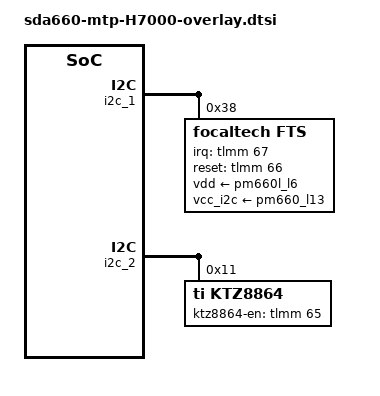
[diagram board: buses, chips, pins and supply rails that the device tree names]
/*
 * BBK S5 (H7000) board overlay - msm-4.19 (sdm660)
 *
 * Derived from the vendor 4.4 tree:
 *   arch/arm/boot/dts/qcom/eebbk/sda660-mtp-H7000-overlay.dtsi
 *
 * v1 bring-up scope: display (nt35597 + PWM backlight + ktz8864 init),
 * focaltech touch, PM660 charger/fuel-gauge, micro-USB (no SS PHY),
 * ramoops.  Camera / TFA98xx amp nodes are added in later revisions.
 */

#include "audio/sda660-audio-tfa98xxx.dtsi"
#include "battery/sda660-battery-H7000.dtsi"
#include "display/sda660-display-H7000.dtsi"

&firmware {
	android {
		boot_devices = "soc/c0c4000.sdhci";
		/delete-node/ fstab;
	};
};

/* ---- touch: FocalTech on BLSP1 QUP1 (i2c_1) ---- */
&i2c_1 {
	status = "ok";

	focaltech@38 {
		compatible = "focaltech,fts";
		reg = <0x38>;
		interrupt-parent = <&tlmm>;
		interrupts = <67 0x2800>;
		focaltech,irq-gpio = <&tlmm 67 0x2>;
		focaltech,reset-gpio = <&tlmm 66 0x0>;
		focaltech,display-coords = <0x0 0x0 0x640 0x880>;
		focaltech,max-touch-number = <10>;
		status = "okay";
		pinctrl-names = "pmx_ts_active", "pmx_ts_suspend", "pmx_ts_release";
		pinctrl-0 = <&ts_active>;
		pinctrl-1 = <&ts_int_suspend &ts_reset_suspend>;
		pinctrl-2 = <&ts_release>;
		vdd-supply = <&pm660l_l6>;
		vcc_i2c-supply = <&pm660_l13>;
	};
};

/* ---- backlight IC on BLSP1 QUP2 (i2c_2) ---- */
&i2c_2 {
	status = "ok";

	ktz8864@11 {
		compatible = "ti,ktz8864";
		reg = <0x11>;
		ktz8864-en-gpio = <&tlmm 65 0x0>;
	};
};

/* H7000 drives the backlight with PM660L PWM + KTZ8864, not WLED */
&pm660l_wled {
	status = "disabled";
};

&pm660_haptics {
	status = "disabled";
};

/* no super-speed PHY on this board (micro-USB, HS only) */
&ssphy {
	status = "disabled";
};

&usb3 {
	extcon = <&pm660_charger>;
	vbus_dwc3-supply = <&smb2_vbus>;
	qcom,no-wakeup-src-in-hostmode;

	dwc3@a800000 {
		usb-phy = <&qusb_phy0>, <&usb_nop_phy>;
		maximum-speed = "high-speed";
	};
};

&pm660_charger {
	qcom,micro-usb;
};

/* ---- TLMM: touch interrupt / reset lines ---- */
&tlmm {
	ts_int_defalut: ts_int_defalut {
		mux {
			pins = "gpio67";
			function = "gpio";
		};

		config {
			pins = "gpio67";
			bias-disable;
			drive-strength = <16>;
			input-enable;
		};
	};

	ts_int_input: ts_int_input {
		mux {
			pins = "gpio67";
			function = "gpio";
		};

		config {
			pins = "gpio67";
			bias-disable;
			input-enable;
		};
	};

	ts_int_output_high: ts_int_output_high {
		mux {
			pins = "gpio67";
			function = "gpio";
		};

		config {
			pins = "gpio67";
			output-high;
		};
	};

	ts_int_output_low: ts_int_output_low {
		mux {
			pins = "gpio67";
			function = "gpio";
		};

		config {
			pins = "gpio67";
			output-low;
		};
	};

	ts_mux {
		ts_active: ts_active {
			mux {
				pins = "gpio66", "gpio67";
				function = "gpio";
			};

			config {
				pins = "gpio66", "gpio67";
				bias-pull-up;
				drive-strength = <16>;
			};
		};

		ts_int_suspend: ts_int_suspend {
			mux {
				pins = "gpio67";
				function = "gpio";
			};

			config {
				pins = "gpio67";
				bias-disable;
				drive-strength = <2>;
			};
		};

		ts_reset_suspend: ts_reset_suspend {
			mux {
				pins = "gpio66";
				function = "gpio";
			};

			config {
				pins = "gpio66";
				bias-pull-down;
				drive-strength = <2>;
			};
		};

		ts_release: ts_release {
			mux {
				pins = "gpio66", "gpio67";
				function = "gpio";
			};

			config {
				pins = "gpio66", "gpio67";
				bias-pull-down;
			};
		};
	};
};
